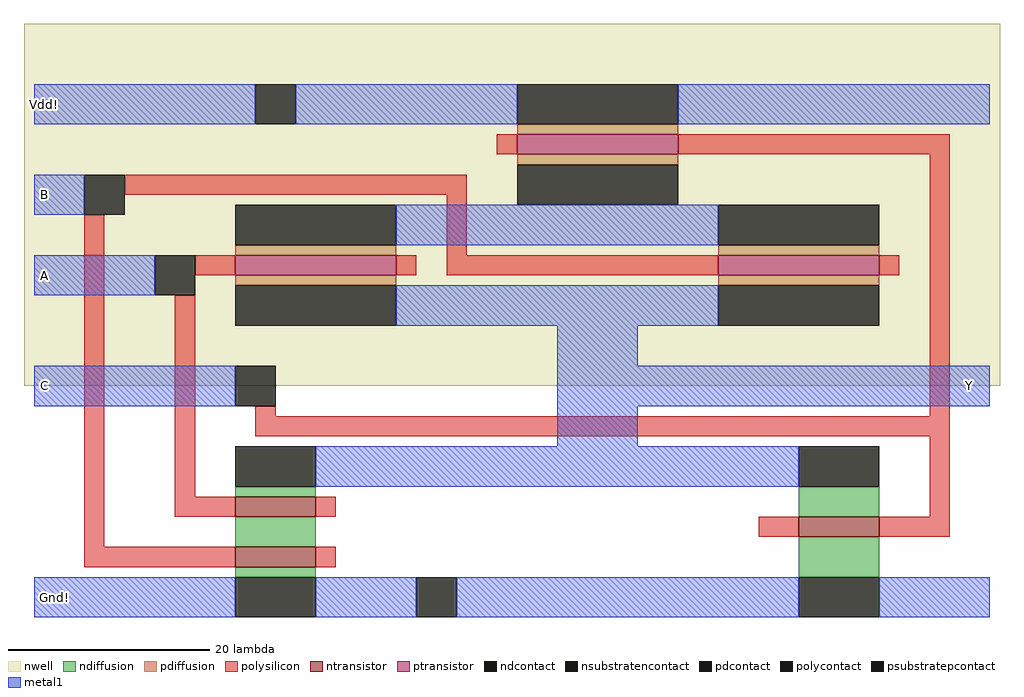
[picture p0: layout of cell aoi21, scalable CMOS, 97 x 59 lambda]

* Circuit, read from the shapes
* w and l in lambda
.subckt aoi21 A B C Gnd! Vdd! Y
M1 n1 B Gnd! Gnd! nfet w=8 l=2
M2 Y A n1 Gnd! nfet w=8 l=2
M3 Y C Gnd! Gnd! nfet w=8 l=2
M4 n2 A Y Vdd! pfet w=16 l=2
M5 Vdd! C n2 Vdd! pfet w=16 l=2
M6 n2 B Y Vdd! pfet w=16 l=2
.ends

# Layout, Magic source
magic
tech scmos
<< nwell >>
rect -73 -12 24 24
<< ntransistor >>
rect -52 -25 -44 -23
rect 4 -27 12 -25
rect -52 -30 -44 -28
<< ptransistor >>
rect -24 11 -8 13
rect -52 -1 -36 1
rect -4 -1 12 1
<< ndiffusion >>
rect -52 -23 -44 -22
rect 4 -25 12 -22
rect -52 -28 -44 -25
rect -52 -31 -44 -30
rect 4 -31 12 -27
<< pdiffusion >>
rect -24 13 -8 14
rect -24 10 -8 11
rect -52 1 -36 2
rect -4 1 12 2
rect -52 -2 -36 -1
rect -4 -2 12 -1
<< ndcontact >>
rect -52 -22 -44 -18
rect 4 -22 12 -18
rect -52 -35 -44 -31
rect 4 -35 12 -31
<< pdcontact >>
rect -24 14 -8 18
rect -52 2 -36 6
rect -24 6 -8 10
rect -4 2 12 6
rect -52 -6 -36 -2
rect -4 -6 12 -2
<< psubstratepcontact >>
rect -34 -35 -30 -31
<< nsubstratencontact >>
rect -50 14 -46 18
<< polysilicon >>
rect -26 11 -24 13
rect -8 11 19 13
rect -63 7 -29 9
rect -67 -28 -65 5
rect -31 1 -29 7
rect -56 -1 -52 1
rect -36 -1 -34 1
rect -31 -1 -4 1
rect 12 -1 14 1
rect -58 -23 -56 -3
rect -50 -15 -48 -14
rect 17 -15 19 11
rect -50 -17 19 -15
rect -58 -25 -52 -23
rect -44 -25 -42 -23
rect 17 -25 19 -17
rect 0 -27 4 -25
rect 12 -27 19 -25
rect -67 -30 -52 -28
rect -44 -30 -42 -28
<< polycontact >>
rect -67 5 -63 9
rect -60 -3 -56 1
rect -52 -14 -48 -10
<< metal1 >>
rect -72 14 -50 18
rect -46 14 -24 18
rect -8 14 23 18
rect -72 5 -67 9
rect -36 2 -4 6
rect -72 -3 -60 1
rect -36 -6 -4 -2
rect -20 -10 -12 -6
rect -72 -14 -52 -10
rect -20 -14 23 -10
rect -20 -18 -12 -14
rect -44 -22 4 -18
rect -72 -35 -52 -31
rect -44 -35 -34 -31
rect -30 -35 4 -31
rect 12 -35 23 -31
<< labels >>
rlabel metal1 -71 -1 -71 -1 3 A
rlabel metal1 -71 -12 -71 -12 3 C
rlabel metal1 -71 7 -71 7 3 B
rlabel metal1 21 -12 21 -12 7 Y
rlabel metal1 -71 16 -71 16 3 Vdd!
rlabel metal1 -70 -33 -70 -33 2 Gnd!
<< end >>
